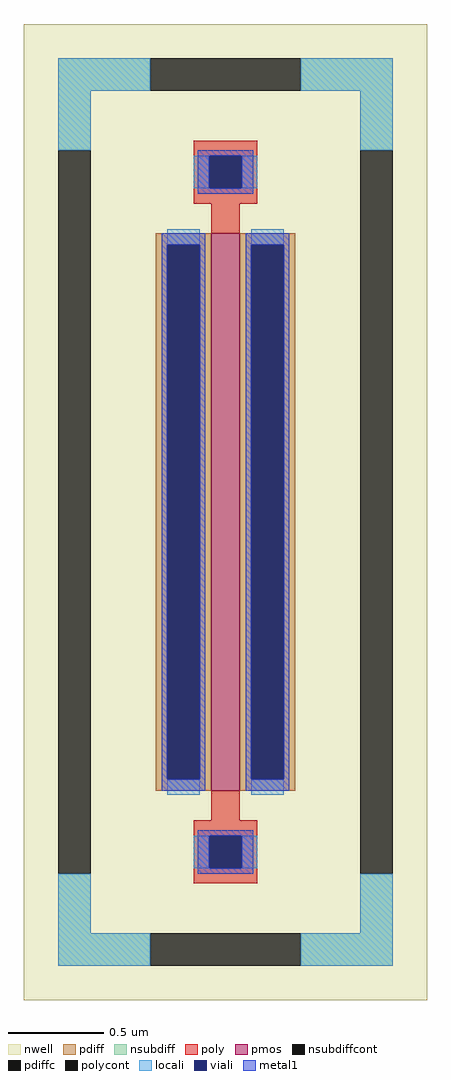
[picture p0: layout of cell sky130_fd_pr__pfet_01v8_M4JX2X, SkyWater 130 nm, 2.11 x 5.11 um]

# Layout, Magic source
magic
tech sky130A
magscale 1 2
<< nwell >>
rect -211 -511 211 511
<< pmos >>
rect -15 -292 15 292
<< pdiff >>
rect -73 280 -15 292
rect -73 -280 -61 280
rect -27 -280 -15 280
rect -73 -292 -15 -280
rect 15 280 73 292
rect 15 -280 27 280
rect 61 -280 73 280
rect 15 -292 73 -280
<< pdiffc >>
rect -61 -280 -27 280
rect 27 -280 61 280
<< nsubdiff >>
rect -175 441 -79 475
rect 79 441 175 475
rect -175 379 -141 441
rect 141 379 175 441
rect -175 -441 -141 -379
rect 141 -441 175 -379
rect -175 -475 -79 -441
rect 79 -475 175 -441
<< nsubdiffcont >>
rect -79 441 79 475
rect -175 -379 -141 379
rect 141 -379 175 379
rect -79 -475 79 -441
<< poly >>
rect -33 373 33 389
rect -33 339 -17 373
rect 17 339 33 373
rect -33 323 33 339
rect -15 292 15 323
rect -15 -323 15 -292
rect -33 -339 33 -323
rect -33 -373 -17 -339
rect 17 -373 33 -339
rect -33 -389 33 -373
<< polycont >>
rect -17 339 17 373
rect -17 -373 17 -339
<< locali >>
rect -175 441 -79 475
rect 79 441 175 475
rect -175 379 -141 441
rect 141 379 175 441
rect -33 339 -17 373
rect 17 339 33 373
rect -61 280 -27 296
rect -61 -296 -27 -280
rect 27 280 61 296
rect 27 -296 61 -280
rect -33 -373 -17 -339
rect 17 -373 33 -339
rect -175 -441 -141 -379
rect 141 -441 175 -379
rect -175 -475 -79 -441
rect 79 -475 175 -441
<< viali >>
rect -17 339 17 373
rect -61 -280 -27 280
rect 27 -280 61 280
rect -17 -373 17 -339
<< metal1 >>
rect -29 373 29 379
rect -29 339 -17 373
rect 17 339 29 373
rect -29 333 29 339
rect -67 280 -21 292
rect -67 -280 -61 280
rect -27 -280 -21 280
rect -67 -292 -21 -280
rect 21 280 67 292
rect 21 -280 27 280
rect 61 -280 67 280
rect 21 -292 67 -280
rect -29 -339 29 -333
rect -29 -373 -17 -339
rect 17 -373 29 -339
rect -29 -379 29 -373
<< properties >>
string FIXED_BBOX -158 -458 158 458
string gencell sky130_fd_pr__pfet_01v8
string library sky130
string parameters w 2.92 l 0.15 m 1 nf 1 diffcov 100 polycov 100 guard 1 glc 1 grc 1 gtc 1 gbc 1 tbcov 100 rlcov 100 topc 1 botc 1 poverlap 0 doverlap 1 lmin 0.15 wmin 0.42 compatible {sky130_fd_pr__pfet_01v8  sky130_fd_pr__pfet_01v8_lvt sky130_fd_pr__pfet_01v8_hvt  sky130_fd_pr__pfet_g5v0d10v5} full_metal 1 viasrc 100 viadrn 100 viagate 100 viagb 0 viagr 0 viagl 0 viagt 0
<< end >>
